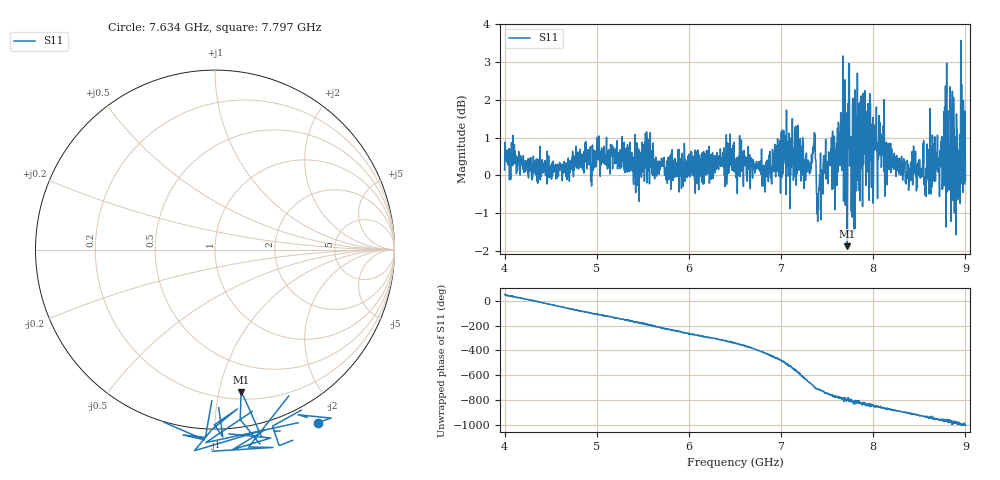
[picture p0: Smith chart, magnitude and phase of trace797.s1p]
! Created with skrf 1.8.0 (http://scikit-rf.org).
# Hz S RI R 50.0
!freq ReS11 ImS11
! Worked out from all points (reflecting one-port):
!   1601 points, 4 GHz to 9 GHz, reference 50 ohm
!   lowest |S11| = -1.9 dB at 7.719 GHz (marker M1), VSWR 9.33, Z = 12.9 - j58.4 ohm
!   phase of S11 starts at 53 deg and turns -1054 deg over the sweep
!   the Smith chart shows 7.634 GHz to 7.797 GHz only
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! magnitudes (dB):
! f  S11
! 4 GHz  0.1
! 4.625 GHz  -0.1
! 5.25 GHz  0.2
! 5.875 GHz  0.1
! 6.5 GHz  0.4
! 6.819 GHz  0.0
! 7.125 GHz  0.6
! 7.269 GHz  0.5
! 7.353 GHz  0.8
! 7.409 GHz  -0.3
! 7.462 GHz  0.5
! 7.594 GHz  0.0
! 7.669 GHz  1.2
! 7.688 GHz  1.7
! 7.7 GHz  1.0
! 7.719 GHz  -1.9
! 7.75 GHz  1.0
! 7.775 GHz  1.8
! 7.844 GHz  1.9
! 7.928 GHz  1.2
! 7.981 GHz  -0.3
! 8.097 GHz  0.5
! 8.375 GHz  0.0
! 8.738 GHz  0.8
! 8.788 GHz  -0.5
! 8.919 GHz  -0.4
! 8.956 GHz  0.4
! 9 GHz  -0.1
